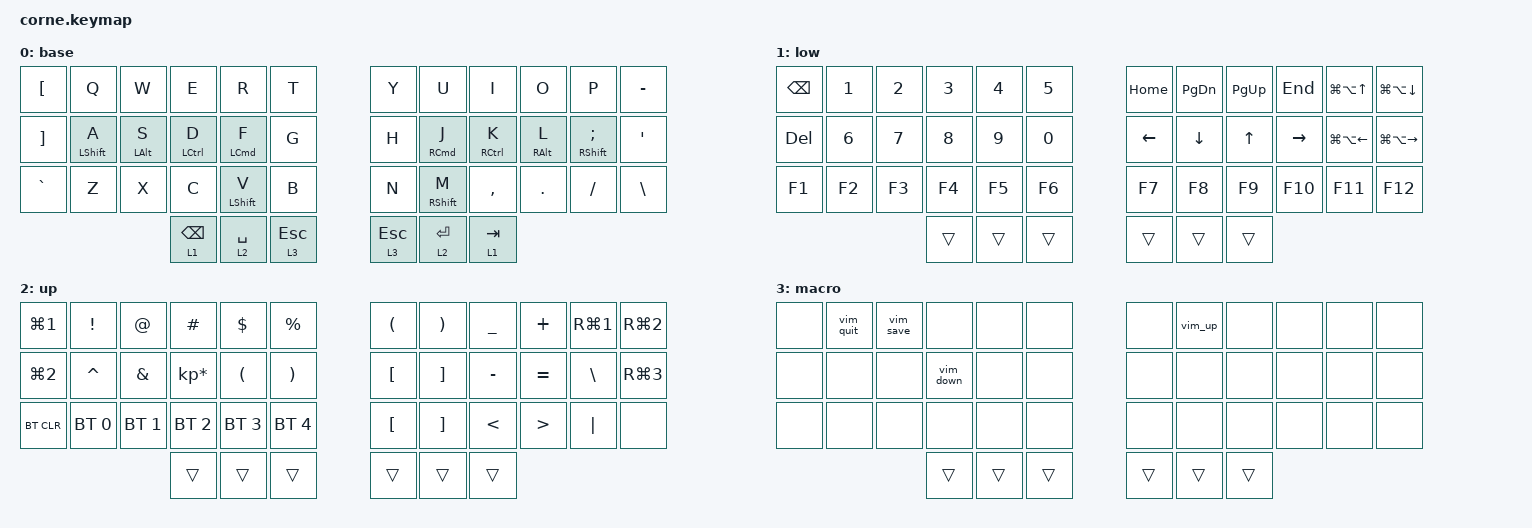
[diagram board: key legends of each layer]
/*
 * Copyright (c) 2020 The ZMK Contributors
 *
 * SPDX-License-Identifier: MIT
 */
/*mjmj*/
#include <behaviors.dtsi>
#include <dt-bindings/zmk/keys.h>
#include <dt-bindings/zmk/bt.h>

#define LEFT_POSITIONS  0 1 2 3 4 5 12 13 14 15 16 17 24 25 26 27 28 29 36 37 38
#define RIGHT_POSITIONS 6 7 8 9 10 11 18 19 20 21 22 23 30 31 32 33 34 35 39 40 41
/* Key Positions
╭────────────────────────╮ ╭────────────────────────╮
│  0   1   2   3   4   5 │ │  6   7   8   9  10  11 │
│ 12  13  14  15  16  17 │ │ 18  19  20  21  22  23 │
│ 24  25  26  27  28  29 │ │ 30  31  32  33  34  35 │
╰───────────╮ 36  37  38 │ │ 39  40  41 ╭───────────╯
            ╰────────────╯ ╰────────────╯
*/

// Mouse Overrides
#define ZMK_MOUSE_DEFAULT_MOVE_VAL 2400
#define ZMK_MOUSE_DEFAULT_SCRL_VAL 40

// Layers
#define DEFAULT   0
#define LOWER     1
#define UPPER     2
#define MACRO     3

/ {

    behaviors {
        hrml: home_row_mods_left {
            compatible = "zmk,behavior-hold-tap";
            #binding-cells = <2>;
            tapping-term-ms = <200>;
            quick-tap-ms = <150>;
            flavor = "balanced";
            //require-prior-idle-ms = <125>;
            hold-trigger-key-positions = < RIGHT_POSITIONS >;
            //hold-trigger-on-release; // delay positional check until key release
            bindings =
                <&kp>,
                <&kp>;
        };

        hrmr: home_row_mods_right {
            compatible = "zmk,behavior-hold-tap";
            #binding-cells = <2>;
            tapping-term-ms = <200>;
            quick-tap-ms = <150>;
            flavor = "balanced";
            //require-prior-idle-ms = <125>;
            hold-trigger-key-positions = < LEFT_POSITIONS >;
            //hold-trigger-on-release; // delay positional check until key release
            bindings =
                <&kp>,
                <&kp>;
        };

        lthp: layer_tap_hold_preferred {
            compatible = "zmk,behavior-hold-tap";
            #binding-cells = <2>;
            tapping-term-ms = <300>;
            quick-tap-ms = <150>;
            //require-prior-idle-ms = <125>;
            flavor = "hold-preferred";
            bindings =
                <&mo>,
                <&kp>;
        };

        mthp: mod_tap_hold_preferred {
            compatible = "zmk,behavior-hold-tap";
            #binding-cells = <2>;
            tapping-term-ms = <300>;
            quick-tap-ms = <150>;
            //require-prior-idle-ms = <125>;
            flavor = "hold-preferred";
            bindings =
                <&kp>,
                <&kp>;
        };

        mttp: mod_tap_tap_preferred {
            compatible = "zmk,behavior-hold-tap";
            #binding-cells = <2>;
            tapping-term-ms = <300>;
            quick-tap-ms = <150>;
            //require-prior-idle-ms = <125>;
            flavor = "tap-preferred";
            bindings =
                <&kp>,
                <&kp>;
        };
    };

    macros {
        vim_save: vim_save {
            compatible = "zmk,behavior-macro";
            #binding-cells = <0>;
            bindings =
                <&macro_tap>,
                <&kp ESC &kp COLON &kp W &kp RETURN>;
        };

        vim_quit: vim_quit {
            compatible = "zmk,behavior-macro";
            #binding-cells = <0>;
            bindings =
                <&macro_tap>,
                <&kp ESC &kp COLON &kp Q &kp RETURN>;
        };

        vim_up: vim_up {
            compatible = "zmk,behavior-macro";
            #binding-cells = <0>;
            bindings =
                <&macro_tap>,
                <&kp LCTRL &kp U>;
        };

        vim_down: vim_down {
            compatible = "zmk,behavior-macro";
            #binding-cells = <0>;
            bindings =
                <&macro_tap>,
                <&kp LCTRL &kp D>;
        };

      };

    keymap {
      compatible = "zmk,keymap";

                default_layer {
                        display-name = "base";
                        bindings = <
                         &kp LBKT &kp Q &kp W &kp E &kp R &kp T    &kp Y &kp U  &kp I &kp O &kp P &kp MINUS
&kp RBKT &hrml LSHFT A &hrml LALT S &hrml LCTRL D &hrml LCMD F &kp G   &kp H &hrmr RCMD J &hrmr RCTRL K &hrmr RALT L &hrmr RSHFT SEMI &kp SQT
                        &kp GRAVE &kp Z &kp X &kp C &hrml LSHFT V &kp B    &kp N &hrmr RSHFT M  &kp COMMA &kp DOT &kp FSLH &kp BSLH
                                   &lthp 1 BSPC &lthp 2 SPACE &lthp 3 ESC    &lthp 3 ESC &lthp 2 RET &lthp 1 TAB
                        >;
                };
                lower_layer {
                        display-name = "low";
                        bindings = <
   &kp BSPC &kp N1 &kp N2 &kp N3 &kp N4 &kp N5 &kp HOME &kp PG_DN &kp PG_UP &kp END &kp LG(LA(UP)) &kp LG(LA(DOWN))
   &kp DEL &kp N6 &kp N7 &kp N8 &kp N9 &kp N0 &kp LEFT &kp DOWN &kp UP &kp RIGHT &kp LG(LA(LEFT)) &kp LG(LA(RIGHT))
   &kp F1  &kp F2 &kp F3 &kp F4 &kp F5 &kp F6  &kp F7   &kp F8   &kp F9 &kp F10 &kp F11 &kp F12
                                    &trans  &trans &trans &trans &trans &trans
                        >;
                };

                raise_layer {
                        display-name = "up";
                        bindings = <
   &kp LG(N1) &kp EXCL &kp AT &kp HASH &kp DLLR &kp PRCNT   &kp LPAR &kp RPAR &kp UNDER &kp PLUS &kp RG(N1)  &kp RG(N2)
   &kp LG(N2) &kp CARET &kp AMPS &kp KP_ASTERISK &kp LPAR &kp RPAR      &kp LBKT &kp RBKT &kp MINUS &kp EQUAL &kp BSLH &kp RG(N3)
   &bt BT_CLR &bt BT_SEL 0 &bt BT_SEL 1 &bt BT_SEL 2 &bt BT_SEL 3 &bt BT_SEL 4      &kp LBKT &kp RBKT &kp LT &kp GT &kp PIPE &none
                             &trans &trans &trans   &trans &trans &trans
                        >;
                };

                macro_layer {
                        display-name = "macro";
                        bindings = <
  &none &vim_quit &vim_save &none &none &none &none &vim_up &none &none &none &none
  &none &none &none &vim_down &none &none &none &none &none &none &none &none
  &none &none &none &none &none &none &none &none &none &none &none &none
                                    &trans  &trans &trans     &trans &trans &trans
                        >;
                };
        };
};
